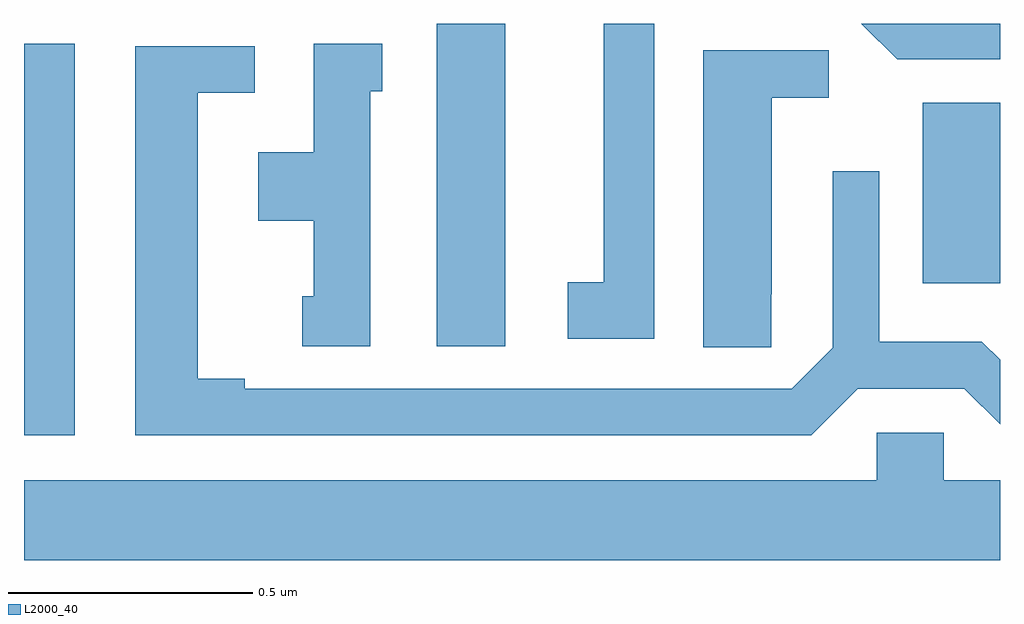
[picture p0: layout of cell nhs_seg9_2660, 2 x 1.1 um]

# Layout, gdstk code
import gdstk
lib = gdstk.Library(unit=1e-6, precision=1e-09)
def R(c, l, rs):  # rectangles x0, y0, x1, y1
    for r in rs: c.add(gdstk.rectangle(r[:2], r[2:], *l))
def P(c, l, *ps):  # polygons
    for p in ps: c.add(gdstk.Polygon(p, *l))
L2000_40 = (2000, 40)

nhs_seg9_2660 = lib.new_cell('nhs_seg9_2660')
R(nhs_seg9_2660, L2000_40, [(143,1216.656,143.104,1217.459), (143.846,1216.839,143.986,1217.5), (144.842,1216.968,145,1217.338)])
P(nhs_seg9_2660, L2000_40, [(144.292,1217.5),(144.188,1217.5),(144.188,1216.97),(144.114,1216.97),(144.114,1216.854),(144.292,1216.854)],
  [(145,1217.5),(144.716,1217.5),(144.789,1217.427),(145,1217.427)],
  [(143.71,1217.361),(143.734,1217.361),(143.734,1217.459),(143.594,1217.459),(143.594,1217.236),(143.48,1217.236),(143.48,1217.096),(143.594,1217.096),(143.594,1216.941),(143.57,1216.941),(143.57,1216.839),(143.71,1216.839)],
  [(144.709,1216.752),(144.927,1216.752),(145,1216.679),(145,1216.811),(144.963,1216.848),(144.753,1216.848),(144.753,1217.197),(144.657,1217.197),(144.657,1216.836),(144.573,1216.752),(143.452,1216.752),(143.452,1216.772),(143.356,1216.772),(143.356,1217.358),(143.473,1217.358),(143.473,1217.454),(143.228,1217.454),(143.228,1216.656),(144.613,1216.656)],
  [(144.531,1216.945),(144.532,1216.945),(144.532,1217.348),(144.649,1217.348),(144.649,1217.445),(144.392,1217.445),(144.392,1216.837),(144.531,1216.837)],
  [(145,1216.564),(144.885,1216.564),(144.885,1216.662),(144.747,1216.662),(144.747,1216.564),(143,1216.564),(143,1216.4),(145,1216.4)])

lib.write_gds('nhs_seg9_2660.gds')
